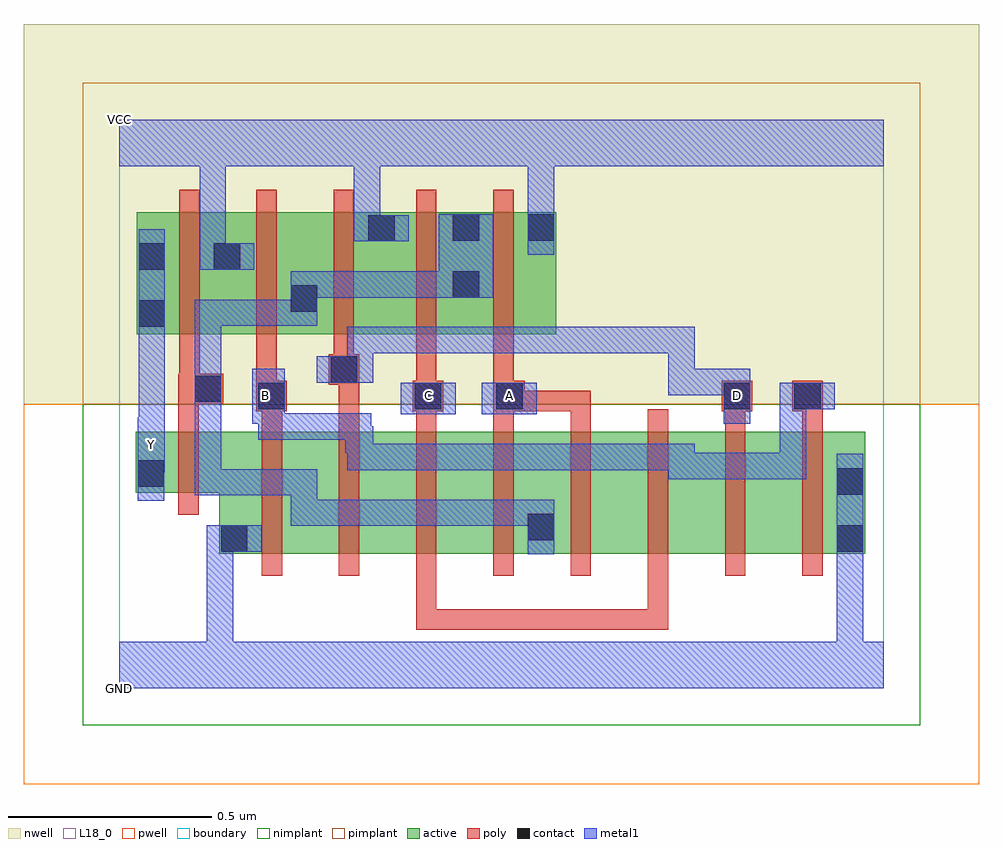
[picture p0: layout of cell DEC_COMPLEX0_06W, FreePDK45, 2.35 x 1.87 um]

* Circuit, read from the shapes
.subckt DEC_COMPLEX0_06W A B C D GND VCC Y
M1 GND n1 Y VSUBS nfet w=0.15u l=0.05u
M2 n2 B GND VSUBS nfet w=0.3u l=0.05u
M3 n3 D n2 VSUBS nfet w=0.3u l=0.05u
M4 n4 C n3 VSUBS nfet w=0.3u l=0.05u
M5 n1 A n4 VSUBS nfet w=0.3u l=0.05u
M6 n5 A n1 VSUBS nfet w=0.3u l=0.05u
M7 n6 C n5 VSUBS nfet w=0.3u l=0.05u
M8 n7 D n6 VSUBS nfet w=0.3u l=0.05u
M9 GND B n7 VSUBS nfet w=0.3u l=0.05u
M10 VCC n1 Y n8 pfet w=0.3u l=0.05u
M11 n1 B VCC n8 pfet w=0.3u l=0.05u
M12 VCC D n1 n8 pfet w=0.3u l=0.05u
M13 n1 C VCC n8 pfet w=0.3u l=0.05u
M14 VCC A n1 n8 pfet w=0.3u l=0.05u
.ends

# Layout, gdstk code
import gdstk
lib = gdstk.Library(unit=1e-6, precision=1e-09)
def R(c, l, rs):  # rectangles x0, y0, x1, y1
    for r in rs: c.add(gdstk.rectangle(r[:2], r[2:], *l))
def A(c, l, x, y, w, h, nx, ny, dx, dy):  # array of equal rectangles
    R(c, l, [(x+i*dx, y+j*dy, x+i*dx+w, y+j*dy+h) for i in range(nx) for j in range(ny)])
active = (1, 0)
pwell = (2, 0)
nwell = (3, 0)
nimplant = (4, 0)
pimplant = (5, 0)
poly = (9, 0)
contact = (10, 0)
metal1 = (11, 0)
L18_0 = (18, 0)
boundary = (235, 0)

dec_complex0_06w = lib.new_cell('DEC_COMPLEX0_06W')
R(dec_complex0_06w, active, [(0.245,0.332,0.47,0.632), (0.245,0.332,0.32,0.627), (0.47,0.332,0.66,0.632), (0.66,0.332,0.85,0.632), (0.85,0.332,1.075,0.632), (1,0.332,1.075,0.632), (1,0.332,1.23,0.632), (1.23,0.332,1.42,0.632), (1.42,0.332,1.61,0.632), (1.61,0.332,1.835,0.632), (1.76,0.332,1.835,0.632), (0.04,0.482,0.32,0.632), (0.04,0.482,0.115,0.632), (0.042,0.872,0.117,1.172), (0.042,0.872,0.302,1.172), (0.227,0.872,0.302,1.172), (0.227,0.872,0.492,1.172), (0.417,0.872,0.682,1.172), (0.417,0.872,0.492,1.055), (0.607,0.872,0.89,1.172), (0.815,0.872,0.89,1.172), (0.815,0.872,1.075,1.172), (1,0.872,1.075,1.172), (0.607,1.007,0.682,1.172)])
R(dec_complex0_06w, pwell, [(-0.235,-0.235,2.115,0.7)])
R(dec_complex0_06w, nwell, [(-0.235,0.7,2.115,1.635)])
R(dec_complex0_06w, nimplant, [(-0.09,-0.09,1.97,0.7)])
R(dec_complex0_06w, pimplant, [(-0.09,0.7,1.97,1.49)])
A(dec_complex0_06w, poly, 0.35, 0.277, 0.05, 0.41, 8, 1, 0.19, 0)
A(dec_complex0_06w, poly, 0.73, 0.637, 0.05, 0.095, 3, 1, 0.19, 0)
A(dec_complex0_06w, poly, 0.147, 0.817, 0.05, 0.41, 3, 1, 0.19, 0)
R(dec_complex0_06w, poly, [(0.73,0.145,0.78,0.327), (0.73,0.145,0.78,0.195), (0.73,0.145,0.78,0.195), (0.73,0.145,0.78,0.195), (0.73,0.145,0.95,0.195), (0.9,0.145,0.95,0.195), (0.9,0.145,0.95,0.195), (0.9,0.145,0.95,0.195), (0.9,0.145,1.13,0.195), (1.08,0.145,1.35,0.195), (1.08,0.145,1.13,0.195), (1.08,0.145,1.13,0.195), (1.08,0.145,1.13,0.195), (1.3,0.145,1.35,0.327), (1.3,0.145,1.35,0.195), (0.145,0.427,0.195,0.687), (0.145,0.637,0.195,0.75), (0.35,0.637,0.4,0.732), (0.54,0.637,0.59,0.797), (1.49,0.637,1.54,0.732), (1.68,0.637,1.73,0.732), (0.337,0.682,0.412,0.757), (0.722,0.682,0.797,0.757), (0.92,0.682,0.997,0.757), (0.947,0.682,0.997,0.732), (0.947,0.682,0.997,0.732), (0.947,0.682,1.16,0.732), (1.11,0.682,1.16,0.732), (1.482,0.682,1.557,0.757), (1.655,0.682,1.73,0.757), (0.145,0.7,0.255,0.775), (0.337,0.707,0.387,0.867), (0.73,0.707,0.78,0.867), (0.92,0.707,0.97,0.867), (0.147,0.725,0.197,0.867), (0.515,0.747,0.59,0.822), (0.527,0.772,0.577,0.867), (0.73,0.817,0.78,1.227), (0.92,0.817,0.97,1.227)])
R(dec_complex0_06w, contact, [(0.25,0.337,0.315,0.402), (1.765,0.337,1.83,0.402), (1.005,0.365,1.07,0.43), (1.765,0.477,1.83,0.542), (0.045,0.497,0.11,0.562), (0.342,0.687,0.407,0.752), (0.727,0.687,0.792,0.752), (0.927,0.687,0.992,0.752), (1.487,0.687,1.552,0.752), (1.66,0.687,1.725,0.752), (0.185,0.705,0.25,0.77), (0.52,0.752,0.585,0.817), (0.047,0.89,0.112,0.955), (0.422,0.927,0.487,0.992), (0.82,0.962,0.885,1.027), (0.047,1.03,0.112,1.095), (0.232,1.03,0.297,1.095), (0.612,1.1,0.677,1.165), (0.82,1.102,0.885,1.167), (1.005,1.102,1.07,1.167)])
R(dec_complex0_06w, metal1, [(0,0,1.88,0.115), (0.215,0.05,0.28,0.115), (0.215,0.05,0.28,0.115), (0.215,0.05,0.28,0.115), (0.215,0.05,0.28,0.115), (0.215,0.05,0.28,0.402), (1.765,0.05,1.83,0.367), (1.765,0.05,1.83,0.115), (1.765,0.05,1.83,0.115), (1.765,0.05,1.83,0.115), (1.765,0.05,1.83,0.115), (1.765,0.302,1.83,0.577), (1.005,0.33,1.07,0.465), (0.215,0.337,0.35,0.402), (0.422,0.4,0.62,0.465), (0.422,0.4,0.487,0.54), (0.555,0.4,0.62,0.465), (0.555,0.4,0.625,0.465), (0.56,0.4,0.625,0.465), (0.56,0.4,0.762,0.465), (0.697,0.4,0.762,0.465), (0.697,0.4,0.762,0.465), (0.697,0.4,0.762,0.465), (0.697,0.4,1.07,0.465), (1.005,0.4,1.07,0.465), (1.005,0.4,1.07,0.465), (0.045,0.462,0.11,0.597), (0.185,0.475,0.25,0.54), (0.185,0.475,0.25,0.54), (0.185,0.475,0.25,0.54), (0.185,0.475,0.412,0.54), (0.185,0.475,0.25,0.735), (0.347,0.475,0.412,0.54), (0.347,0.475,0.487,0.54), (1.35,0.515,1.552,0.58), (1.35,0.515,1.415,0.602), (1.487,0.515,1.552,0.58), (1.487,0.515,1.552,0.58), (1.487,0.515,1.552,0.58), (1.487,0.515,1.69,0.58), (1.625,0.515,1.69,0.58), (1.625,0.515,1.69,0.752), (0.045,0.532,0.11,0.597), (0.045,0.532,0.112,0.667), (0.56,0.537,0.757,0.602), (0.56,0.537,0.625,0.645), (0.692,0.537,0.757,0.602), (0.692,0.537,0.932,0.602), (0.867,0.537,0.932,0.602), (0.867,0.537,0.932,0.602), (0.867,0.537,0.932,0.602), (0.867,0.537,1.207,0.602), (1.142,0.537,1.207,0.602), (1.142,0.537,1.207,0.602), (1.142,0.537,1.207,0.602), (1.142,0.537,1.415,0.602), (1.35,0.537,1.415,0.602), (1.35,0.537,1.415,0.602), (0.555,0.58,0.625,0.645), (0.555,0.58,0.62,0.677), (0.047,0.602,0.112,0.92), (0.342,0.612,0.407,0.677), (0.342,0.612,0.62,0.677), (0.342,0.612,0.407,0.717), (0.327,0.652,0.407,0.787), (0.342,0.652,0.407,0.717), (0.342,0.652,0.407,0.717), (1.487,0.652,1.552,0.787), (0.185,0.67,0.25,0.735), (0.185,0.67,0.25,0.735), (0.185,0.67,0.25,0.805), (0.185,0.67,0.25,0.957), (0.692,0.675,0.827,0.752), (0.892,0.675,1.027,0.752), (1.625,0.687,1.69,0.752), (1.625,0.687,1.69,0.752), (1.625,0.687,1.76,0.752), (1.35,0.722,1.415,0.787), (1.35,0.722,1.415,0.787), (1.35,0.722,1.415,0.787), (1.35,0.722,1.552,0.787), (1.35,0.722,1.415,0.89), (1.487,0.722,1.552,0.787), (1.487,0.722,1.552,0.787), (0.485,0.752,0.62,0.817), (0.555,0.752,0.625,0.817), (0.56,0.752,0.625,0.817), (0.56,0.752,0.625,0.89), (0.56,0.825,0.625,0.89), (0.56,0.825,0.757,0.89), (0.692,0.825,0.757,0.89), (0.692,0.825,0.932,0.89), (0.867,0.825,0.932,0.89), (0.867,0.825,0.932,0.89), (0.867,0.825,0.932,0.89), (0.867,0.825,1.277,0.89), (1.212,0.825,1.277,0.89), (1.212,0.825,1.277,0.89), (1.212,0.825,1.277,0.89), (1.212,0.825,1.415,0.89), (1.35,0.825,1.415,0.89), (0.047,0.855,0.112,1.13), (0.185,0.892,0.25,0.957), (0.185,0.892,0.412,0.957), (0.347,0.892,0.412,0.957), (0.347,0.892,0.487,0.957), (0.422,0.892,0.487,1.027), (0.422,0.962,0.487,1.027), (0.422,0.962,0.487,1.027), (0.422,0.962,0.62,1.027), (0.555,0.962,0.62,1.027), (0.555,0.962,0.625,1.027), (0.56,0.962,0.625,1.027), (0.56,0.962,0.757,1.027), (0.692,0.962,0.757,1.027), (0.692,0.962,0.85,1.027), (0.785,0.962,0.92,1.167), (0.197,1.03,0.332,1.095), (0.197,1.03,0.262,1.35), (1.005,1.067,1.07,1.202), (0.577,1.1,0.642,1.165), (0.577,1.1,0.642,1.165), (0.577,1.1,0.712,1.165), (0.577,1.1,0.642,1.35), (1.005,1.137,1.07,1.202), (1.005,1.137,1.07,1.202), (1.005,1.137,1.07,1.35), (0,1.285,1.88,1.4), (0.197,1.285,0.262,1.35), (0.197,1.285,0.262,1.35)])
R(dec_complex0_06w, L18_0, [(0,0,1.88,0.115), (0.215,0.05,0.28,0.115), (0.215,0.05,0.28,0.115), (0.215,0.05,0.28,0.115), (0.215,0.05,0.28,0.115), (0.215,0.05,0.28,0.402), (1.765,0.05,1.83,0.115), (1.765,0.05,1.83,0.115), (1.765,0.05,1.83,0.115), (1.765,0.05,1.83,0.115), (1.765,0.05,1.83,0.367), (1.765,0.302,1.83,0.577), (0.215,0.337,0.35,0.402), (0.045,0.462,0.11,0.597), (1.35,0.515,1.415,0.602), (1.35,0.515,1.552,0.58), (1.487,0.515,1.552,0.58), (1.487,0.515,1.552,0.58), (1.487,0.515,1.552,0.58), (1.487,0.515,1.69,0.58), (1.625,0.515,1.69,0.58), (1.625,0.515,1.69,0.752), (0.045,0.532,0.112,0.667), (0.045,0.532,0.11,0.597), (0.56,0.537,0.625,0.645), (0.56,0.537,0.757,0.602), (0.692,0.537,0.757,0.602), (0.692,0.537,0.932,0.602), (0.867,0.537,0.932,0.602), (0.867,0.537,0.932,0.602), (0.867,0.537,0.932,0.602), (0.867,0.537,1.207,0.602), (1.142,0.537,1.207,0.602), (1.142,0.537,1.207,0.602), (1.142,0.537,1.207,0.602), (1.142,0.537,1.415,0.602), (1.35,0.537,1.415,0.602), (1.35,0.537,1.415,0.602), (0.047,0.567,0.112,0.632), (0.555,0.58,0.62,0.677), (0.555,0.58,0.625,0.645), (0.047,0.602,0.112,0.92), (0.342,0.612,0.407,0.677), (0.342,0.612,0.407,0.717), (0.342,0.612,0.62,0.677), (0.327,0.652,0.407,0.787), (0.342,0.652,0.407,0.717), (0.342,0.652,0.407,0.717), (1.487,0.652,1.552,0.787), (0.692,0.675,0.827,0.752), (0.892,0.675,1.027,0.752), (0.327,0.687,0.392,0.752), (0.727,0.687,0.792,0.752), (0.927,0.687,0.992,0.752), (1.487,0.687,1.552,0.752), (1.625,0.687,1.69,0.752), (1.625,0.687,1.69,0.752), (1.625,0.687,1.76,0.752), (1.35,0.722,1.415,0.787), (1.35,0.722,1.415,0.787), (1.35,0.722,1.415,0.787), (1.35,0.722,1.415,0.89), (1.35,0.722,1.552,0.787), (1.487,0.722,1.552,0.787), (1.487,0.722,1.552,0.787), (0.485,0.752,0.62,0.817), (0.555,0.752,0.625,0.817), (0.56,0.752,0.625,0.817), (0.56,0.752,0.625,0.89), (0.56,0.825,0.625,0.89), (0.56,0.825,0.757,0.89), (0.692,0.825,0.757,0.89), (0.692,0.825,0.932,0.89), (0.867,0.825,0.932,0.89), (0.867,0.825,0.932,0.89), (0.867,0.825,0.932,0.89), (0.867,0.825,1.277,0.89), (1.212,0.825,1.277,0.89), (1.212,0.825,1.277,0.89), (1.212,0.825,1.277,0.89), (1.212,0.825,1.415,0.89), (1.35,0.825,1.415,0.89), (0.047,0.855,0.112,1.13), (0.197,1.03,0.332,1.095), (0.197,1.03,0.262,1.35), (1.005,1.067,1.07,1.202), (0.577,1.1,0.642,1.165), (0.577,1.1,0.642,1.165), (0.577,1.1,0.712,1.165), (0.577,1.1,0.642,1.35), (1.005,1.137,1.07,1.202), (1.005,1.137,1.07,1.202), (1.005,1.137,1.07,1.35), (0,1.285,1.88,1.4), (0.197,1.285,0.262,1.35), (0.197,1.285,0.262,1.35)])
R(dec_complex0_06w, boundary, [(0,0,1.88,1.4)])
dec_complex0_06w.add(gdstk.Label('A', (0.96,0.72), layer=11, texttype=0))
dec_complex0_06w.add(gdstk.Label('B', (0.36,0.72), layer=11, texttype=0))
dec_complex0_06w.add(gdstk.Label('C', (0.76,0.72), layer=11, texttype=0))
dec_complex0_06w.add(gdstk.Label('D', (1.52,0.72), layer=11, texttype=0))
dec_complex0_06w.add(gdstk.Label('Y', (0.08,0.6), layer=11, texttype=0))
dec_complex0_06w.add(gdstk.Label('VCC', (0,1.4), layer=11, texttype=0))
dec_complex0_06w.add(gdstk.Label('GND', (0,0), layer=11, texttype=0))

lib.write_gds('DEC_COMPLEX0_06W.gds')
